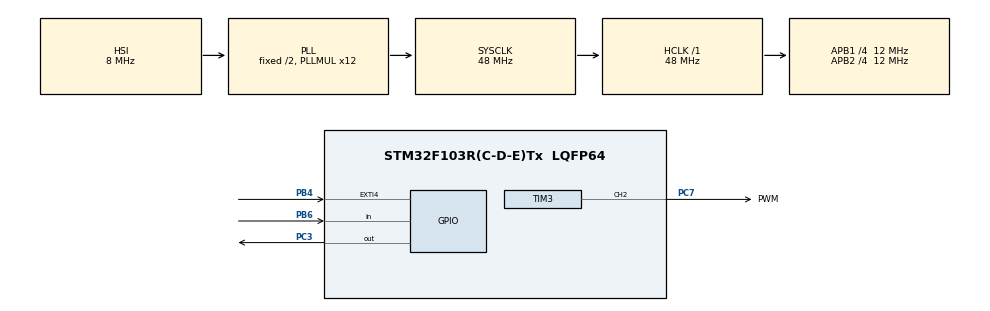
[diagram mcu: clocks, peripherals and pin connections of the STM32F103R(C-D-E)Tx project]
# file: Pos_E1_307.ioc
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Mcu.Family=STM32F1
Mcu.Name=STM32F103R(C-D-E)Tx
Mcu.Package=LQFP64
NVIC.EXTI4_IRQn=true\:0\:0\:false\:false\:true\:true\:true\:true
NVIC.PriorityGroup=NVIC_PRIORITYGROUP_4
NVIC.TIM4_IRQn=true\:0\:0\:false\:false\:true\:true\:true\:true
PA13.Mode=Serial_Wire
PA13.Signal=SYS_JTMS-SWDIO
PA14.Mode=Serial_Wire
PA14.Signal=SYS_JTCK-SWCLK
PB4.GPIO_ModeDefaultEXTI=GPIO_MODE_IT_FALLING
PB4.GPIO_PuPd=GPIO_PULLUP
PB4.Signal=GPXTI4
PB6.GPIO_PuPd=GPIO_PULLUP
PB6.Signal=GPIO_Input
PC3.GPIO_PuPd=GPIO_PULLUP
PC3.Signal=GPIO_Output
PC7.GPIO_Label=PWM
PC7.Signal=S_TIM3_CH2
ProjectManager.HeapSize=0x200
ProjectManager.StackSize=0x400
ProjectManager.TargetToolchain=STM32CubeIDE
RCC.AHBFreq_Value=48000000
RCC.APB1CLKDivider=RCC_HCLK_DIV4
RCC.APB1Freq_Value=12000000
RCC.APB1TimFreq_Value=24000000
RCC.APB2CLKDivider=RCC_HCLK_DIV4
RCC.APB2Freq_Value=12000000
RCC.APB2TimFreq_Value=24000000
RCC.HCLKFreq_Value=48000000
RCC.PLLMUL=RCC_PLL_MUL12
RCC.SYSCLKFreq_VALUE=48000000
RCC.SYSCLKSource=RCC_SYSCLKSOURCE_PLLCLK
RCC.USBFreq_Value=48000000
SH.S_TIM3_CH2.0=TIM3_CH2,PWM Generation2 CH2
TIM3.Channel-PWM\ Generation2\ CH2=TIM_CHANNEL_2
TIM3.Period=100-1
TIM3.Prescaler=12-1
TIM4.Period=1000-1
TIM4.Prescaler=12-1
VP_TIM3_VS_ClockSourceINT.Mode=Internal
VP_TIM4_VS_ClockSourceINT.Mode=Internal
board=custom

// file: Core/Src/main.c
/* USER CODE BEGIN Header */
/**
  ******************************************************************************
  * @file           : main.c
  * @brief          : Main program body
  ******************************************************************************
  * @attention
  *
  * Copyright (c) 2023 STMicroelectronics.
  * All rights reserved.
  *
  * This software is licensed under terms that can be found in the LICENSE file
  * in the root directory of this software component.
  * If no LICENSE file comes with this software, it is provided AS-IS.
  *
  ******************************************************************************
  */
/* USER CODE END Header */
#include "main.h"

/* USER CODE BEGIN Includes */
#include <stdlib.h>
/* USER CODE END Includes */

/* USER CODE BEGIN PTD */
int dir;
int pwr;
/* USER CODE END PTD */

/* USER CODE BEGIN PM */
int u2;
int e2;
int pre_e2;
float ei2;
float ed2;
int t = 2000;
float kp2 = 1.28,ki2 = 0.0005,kd2 = 0.005;
int count;
unsigned char previous_state = 0;
/* USER CODE END PM */

TIM_HandleTypeDef htim3;
TIM_HandleTypeDef htim4;

void SystemClock_Config(void);
static void MX_GPIO_Init(void);
static void MX_TIM3_Init(void);
static void MX_TIM4_Init(void);
/* USER CODE BEGIN PFP */
void HAL_GPIO_EXTI_Callback(uint16_t GPIO_Pin)
{
	if (GPIO_Pin == GPIO_PIN_4){
		if ((GPIOB -> IDR & GPIO_PIN_6) == 0) count++;
		else count--;
	}
}

void HAL_TIM_PeriodElapsedCallback(TIM_HandleTypeDef *htim)
  {

  	e2 = t - count;
  	ei2 += e2 * 0.001;
  	if (ei2>10){
  		ei2 =10;
  	}
  	else if(ei2<-10) {
  		ei2 =-10;
  	}
  	ed2 = (e2 - pre_e2) / 0.001;
  	u2 = kp2*e2 + ki2*ei2 + kd2*ed2;
  	pre_e2 = e2;

  	if(u2 < 0) dir = 1;
	else dir = -1;
	pwr = abs(u2);
	if(pwr > 100) pwr = 100;
	if ((pwr<4)&&(e2 !=0)){pwr=4;}

  }

void setMotor(int dir , int pwmVal){
  	if (dir == -1){
  		__HAL_TIM_SET_COMPARE(&htim3, TIM_CHANNEL_2,pwmVal);
  		GPIOC -> ODR &= ~GPIO_PIN_3;
  	}
  	else if (dir == 1){
  		__HAL_TIM_SET_COMPARE(&htim3, TIM_CHANNEL_2,pwmVal);
  		GPIOC -> ODR |= GPIO_PIN_3;
  	}
  	else{
  		__HAL_TIM_SET_COMPARE(&htim3, TIM_CHANNEL_2, 0);
  	}
}
/* USER CODE END PFP */

int main(void)
{

  /* MCU Configuration--------------------------------------------------------*/

  /* Reset of all peripherals, Initializes the Flash interface and the Systick. */
  HAL_Init();

  /* Configure the system clock */
  SystemClock_Config();

  /* Initialize all configured peripherals */
  MX_GPIO_Init();
  MX_TIM3_Init();
  MX_TIM4_Init();
  /* USER CODE BEGIN 2 */
  HAL_TIM_PWM_Start(&htim3,TIM_CHANNEL_2);
  HAL_TIM_Base_Start_IT(&htim4);
  /* USER CODE END 2 */

  /* Infinite loop */
  /* USER CODE BEGIN WHILE */
  while (1)
  {
	  setMotor(dir, pwr);
    /* USER CODE END WHILE */

  }
}

void SystemClock_Config(void)
{
  RCC_OscInitTypeDef RCC_OscInitStruct = {0};
  RCC_ClkInitTypeDef RCC_ClkInitStruct = {0};

  /** Initializes the RCC Oscillators according to the specified parameters
  * in the RCC_OscInitTypeDef structure.
  */
  RCC_OscInitStruct.OscillatorType = RCC_OSCILLATORTYPE_HSI;
  RCC_OscInitStruct.HSIState = RCC_HSI_ON;
  RCC_OscInitStruct.HSICalibrationValue = RCC_HSICALIBRATION_DEFAULT;
  RCC_OscInitStruct.PLL.PLLState = RCC_PLL_ON;
  RCC_OscInitStruct.PLL.PLLSource = RCC_PLLSOURCE_HSI_DIV2;
  RCC_OscInitStruct.PLL.PLLMUL = RCC_PLL_MUL12;
  if (HAL_RCC_OscConfig(&RCC_OscInitStruct) != HAL_OK)
  {
    Error_Handler();
  }

  /** Initializes the CPU, AHB and APB buses clocks
  */
  RCC_ClkInitStruct.ClockType = RCC_CLOCKTYPE_HCLK|RCC_CLOCKTYPE_SYSCLK
                              |RCC_CLOCKTYPE_PCLK1|RCC_CLOCKTYPE_PCLK2;
  RCC_ClkInitStruct.SYSCLKSource = RCC_SYSCLKSOURCE_PLLCLK;
  RCC_ClkInitStruct.AHBCLKDivider = RCC_SYSCLK_DIV1;
  RCC_ClkInitStruct.APB1CLKDivider = RCC_HCLK_DIV4;
  RCC_ClkInitStruct.APB2CLKDivider = RCC_HCLK_DIV4;

  if (HAL_RCC_ClockConfig(&RCC_ClkInitStruct, FLASH_LATENCY_1) != HAL_OK)
  {
    Error_Handler();
  }
}

static void MX_TIM3_Init(void)
{

  TIM_ClockConfigTypeDef sClockSourceConfig = {0};
  TIM_MasterConfigTypeDef sMasterConfig = {0};
  TIM_OC_InitTypeDef sConfigOC = {0};

  htim3.Instance = TIM3;
  htim3.Init.Prescaler = 12-1;
  htim3.Init.CounterMode = TIM_COUNTERMODE_UP;
  htim3.Init.Period = 100-1;
  htim3.Init.ClockDivision = TIM_CLOCKDIVISION_DIV1;
  htim3.Init.AutoReloadPreload = TIM_AUTORELOAD_PRELOAD_DISABLE;
  if (HAL_TIM_Base_Init(&htim3) != HAL_OK)
  {
    Error_Handler();
  }
  sClockSourceConfig.ClockSource = TIM_CLOCKSOURCE_INTERNAL;
  if (HAL_TIM_ConfigClockSource(&htim3, &sClockSourceConfig) != HAL_OK)
  {
    Error_Handler();
  }
  if (HAL_TIM_PWM_Init(&htim3) != HAL_OK)
  {
    Error_Handler();
  }
  sMasterConfig.MasterOutputTrigger = TIM_TRGO_RESET;
  sMasterConfig.MasterSlaveMode = TIM_MASTERSLAVEMODE_DISABLE;
  if (HAL_TIMEx_MasterConfigSynchronization(&htim3, &sMasterConfig) != HAL_OK)
  {
    Error_Handler();
  }
  sConfigOC.OCMode = TIM_OCMODE_PWM1;
  sConfigOC.Pulse = 0;
  sConfigOC.OCPolarity = TIM_OCPOLARITY_HIGH;
  sConfigOC.OCFastMode = TIM_OCFAST_DISABLE;
  if (HAL_TIM_PWM_ConfigChannel(&htim3, &sConfigOC, TIM_CHANNEL_2) != HAL_OK)
  {
    Error_Handler();
  }
  HAL_TIM_MspPostInit(&htim3);

}

static void MX_TIM4_Init(void)
{

  TIM_ClockConfigTypeDef sClockSourceConfig = {0};
  TIM_MasterConfigTypeDef sMasterConfig = {0};

  htim4.Instance = TIM4;
  htim4.Init.Prescaler = 12-1;
  htim4.Init.CounterMode = TIM_COUNTERMODE_UP;
  htim4.Init.Period = 1000-1;
  htim4.Init.ClockDivision = TIM_CLOCKDIVISION_DIV1;
  htim4.Init.AutoReloadPreload = TIM_AUTORELOAD_PRELOAD_DISABLE;
  if (HAL_TIM_Base_Init(&htim4) != HAL_OK)
  {
    Error_Handler();
  }
  sClockSourceConfig.ClockSource = TIM_CLOCKSOURCE_INTERNAL;
  if (HAL_TIM_ConfigClockSource(&htim4, &sClockSourceConfig) != HAL_OK)
  {
    Error_Handler();
  }
  sMasterConfig.MasterOutputTrigger = TIM_TRGO_RESET;
  sMasterConfig.MasterSlaveMode = TIM_MASTERSLAVEMODE_DISABLE;
  if (HAL_TIMEx_MasterConfigSynchronization(&htim4, &sMasterConfig) != HAL_OK)
  {
    Error_Handler();
  }

}

static void MX_GPIO_Init(void)
{
  GPIO_InitTypeDef GPIO_InitStruct = {0};

  /* GPIO Ports Clock Enable */
  __HAL_RCC_GPIOC_CLK_ENABLE();
  __HAL_RCC_GPIOA_CLK_ENABLE();
  __HAL_RCC_GPIOB_CLK_ENABLE();

  /*Configure GPIO pin Output Level */
  HAL_GPIO_WritePin(GPIOC, GPIO_PIN_3, GPIO_PIN_RESET);

  /*Configure GPIO pin : PC3 */
  GPIO_InitStruct.Pin = GPIO_PIN_3;
  GPIO_InitStruct.Mode = GPIO_MODE_OUTPUT_PP;
  GPIO_InitStruct.Pull = GPIO_PULLUP;
  GPIO_InitStruct.Speed = GPIO_SPEED_FREQ_LOW;
  HAL_GPIO_Init(GPIOC, &GPIO_InitStruct);

  /*Configure GPIO pin : PB4 */
  GPIO_InitStruct.Pin = GPIO_PIN_4;
  GPIO_InitStruct.Mode = GPIO_MODE_IT_FALLING;
  GPIO_InitStruct.Pull = GPIO_PULLUP;
  HAL_GPIO_Init(GPIOB, &GPIO_InitStruct);

  /*Configure GPIO pin : PB6 */
  GPIO_InitStruct.Pin = GPIO_PIN_6;
  GPIO_InitStruct.Mode = GPIO_MODE_INPUT;
  GPIO_InitStruct.Pull = GPIO_PULLUP;
  HAL_GPIO_Init(GPIOB, &GPIO_InitStruct);

  /* EXTI interrupt init*/
  HAL_NVIC_SetPriority(EXTI4_IRQn, 0, 0);
  HAL_NVIC_EnableIRQ(EXTI4_IRQn);

}

void Error_Handler(void)
{
  __disable_irq();
  while (1)
  {
  }
}
